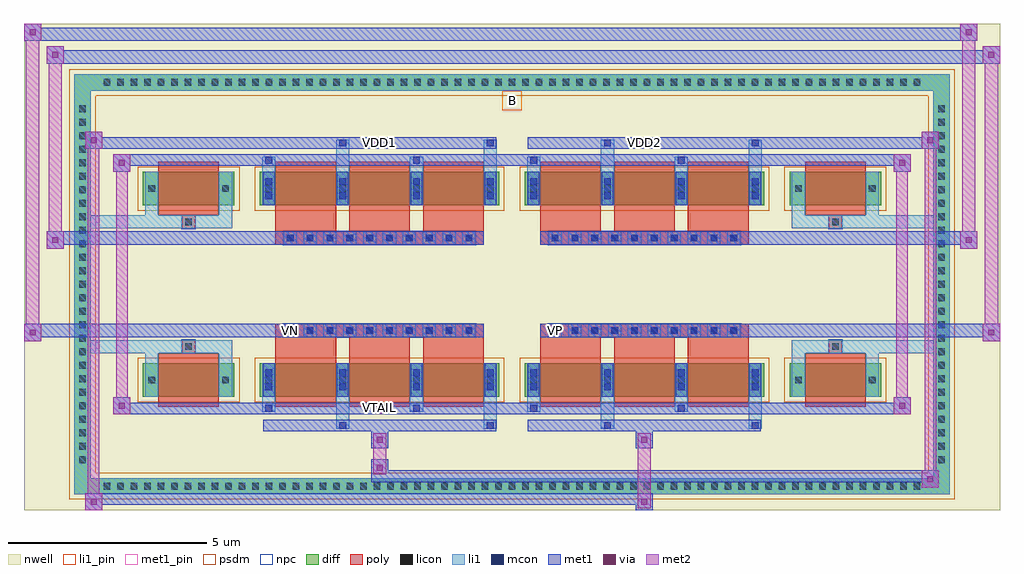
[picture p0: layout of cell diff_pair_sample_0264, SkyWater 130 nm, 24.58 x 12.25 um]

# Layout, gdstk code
import gdstk
lib = gdstk.Library(unit=1e-6, precision=5e-09)
def R(c, l, rs):  # rectangles x0, y0, x1, y1
    for r in rs: c.add(gdstk.rectangle(r[:2], r[2:], *l))
def A(c, l, x, y, w, h, nx, ny, dx, dy):  # array of equal rectangles
    R(c, l, [(x+i*dx, y+j*dy, x+i*dx+w, y+j*dy+h) for i in range(nx) for j in range(ny)])
def P(c, l, *ps):  # polygons
    for p in ps: c.add(gdstk.Polygon(p, *l))
nwell = (64, 20)
diff = (65, 20)
poly = (66, 20)
licon = (66, 44)
li1_pin = (67, 16)
li1 = (67, 20)
mcon = (67, 44)
met1_pin = (68, 16)
met1 = (68, 20)
via = (68, 44)
met2 = (69, 20)
psdm = (94, 20)
npc = (95, 20)

diff_pair_sample_0264 = lib.new_cell('diff_pair_sample_0264')
R(diff_pair_sample_0264, nwell, [(-12.29,-5.69,12.29,6.56), (-9.61,-3.88,-0.01,-0.8), (0.01,-3.88,9.61,-0.8), (-9.61,0.8,-0.01,3.88), (0.01,0.8,9.61,3.88)])
A(diff_pair_sample_0264, diff, -10.405, -5.29, 0.41, 0.41, 61, 2, 0.34, 10.17)
A(diff_pair_sample_0264, diff, -11.02, -4.625, 0.41, 0.41, 1, 27, 0, 0.34)
A(diff_pair_sample_0264, diff, 10.61, -4.625, 0.41, 0.41, 1, 27, 0, 0.34)
R(diff_pair_sample_0264, diff, [(-10.405,-5.29,10.405,-4.88), (-11.02,-4.625,-10.61,4.625), (10.61,-4.625,11.02,4.625), (-9.3,-2.835,-6.99,-1.985), (-6.35,-2.835,-0.32,-1.985), (0.32,-2.835,6.35,-1.985), (6.99,-2.835,9.3,-1.985), (-9.3,1.985,-6.99,2.835), (-6.35,1.985,-0.32,2.835), (0.32,1.985,6.35,2.835), (6.99,1.985,9.3,2.835), (-10.405,4.88,10.405,5.29)])
P(diff_pair_sample_0264, diff, [(11.02,5.29),(-11.02,5.29),(-11.02,-4.88),(-10.61,-4.88),(-10.61,4.88),(10.61,4.88),(10.61,-4.88),(-10.61,-4.88),(-11.02,-4.88),(-11.02,-5.29),(11.02,-5.29)])
A(diff_pair_sample_0264, poly, -5.96, -3.085, 1.53, 1.35, 3, 2, 1.86, 4.82)
A(diff_pair_sample_0264, poly, 0.71, -3.085, 1.53, 1.35, 3, 2, 1.86, 4.82)
A(diff_pair_sample_0264, poly, -5.96, -1.735, 1.53, 0.405, 3, 2, 1.86, 3.065)
A(diff_pair_sample_0264, poly, 0.71, -1.735, 1.53, 0.405, 3, 2, 1.86, 3.065)
A(diff_pair_sample_0264, poly, -5.75, -1.33, 0.33, 0.33, 10, 2, 0.5, 2.33)
A(diff_pair_sample_0264, poly, 0.92, -1.33, 0.33, 0.33, 10, 2, 0.5, 2.33)
R(diff_pair_sample_0264, poly, [(-8.91,-3.085,-7.38,-1.735), (7.38,-3.085,8.91,-1.735), (-8.31,-1.735,-7.98,-1.405), (-8.31,-1.735,-7.98,-1.405), (7.98,-1.735,8.31,-1.405), (7.98,-1.735,8.31,-1.405), (-5.96,-1.33,-0.71,-1), (0.71,-1.33,5.96,-1), (-5.96,1,-0.71,1.33), (0.71,1,5.96,1.33), (-8.31,1.405,-7.98,1.735), (-8.31,1.405,-7.98,1.735), (7.98,1.405,8.31,1.735), (7.98,1.405,8.31,1.735), (-8.91,1.735,-7.38,3.085), (7.38,1.735,8.91,3.085)])
A(diff_pair_sample_0264, licon, -10.285, -5.17, 0.17, 0.17, 61, 2, 0.34, 10.17)
A(diff_pair_sample_0264, licon, -10.9, -4.505, 0.17, 0.17, 1, 27, 0, 0.34)
A(diff_pair_sample_0264, licon, 10.73, -4.505, 0.17, 0.17, 1, 27, 0, 0.34)
A(diff_pair_sample_0264, licon, -6.21, -2.495, 0.17, 0.17, 4, 2, 1.86, 4.82)
A(diff_pair_sample_0264, licon, 0.46, -2.495, 0.17, 0.17, 4, 2, 1.86, 4.82)
A(diff_pair_sample_0264, licon, -5.67, -1.25, 0.17, 0.17, 10, 2, 0.5, 2.33)
A(diff_pair_sample_0264, licon, 1, -1.25, 0.17, 0.17, 10, 2, 0.5, 2.33)
R(diff_pair_sample_0264, licon, [(-9.16,-2.495,-8.99,-2.325), (-7.3,-2.495,-7.13,-2.325), (7.13,-2.495,7.3,-2.325), (8.99,-2.495,9.16,-2.325), (-8.23,-1.655,-8.06,-1.485), (8.06,-1.655,8.23,-1.485), (-8.23,1.485,-8.06,1.655), (8.06,1.485,8.23,1.655), (-9.16,2.325,-8.99,2.495), (-7.3,2.325,-7.13,2.495), (7.13,2.325,7.3,2.495), (8.99,2.325,9.16,2.495)])
R(diff_pair_sample_0264, li1_pin, [(-0.25,4.38,0.25,4.88)])
A(diff_pair_sample_0264, li1, -10.365, -5.25, 0.33, 0.33, 61, 2, 0.34, 10.17)
A(diff_pair_sample_0264, li1, -10.98, -4.585, 0.33, 0.33, 1, 27, 0, 0.34)
A(diff_pair_sample_0264, li1, 10.65, -4.585, 0.33, 0.33, 1, 27, 0, 0.34)
A(diff_pair_sample_0264, li1, -6.29, -2.835, 0.33, 0.85, 4, 2, 1.86, 4.82)
A(diff_pair_sample_0264, li1, 0.38, -2.835, 0.33, 0.85, 4, 2, 1.86, 4.82)
A(diff_pair_sample_0264, li1, -6.21, -2.675, 0.17, 0.17, 4, 2, 1.86, 0.36)
A(diff_pair_sample_0264, li1, -6.21, -2.675, 0.17, 0.53, 4, 2, 1.86, 4.82)
A(diff_pair_sample_0264, li1, 0.46, -2.675, 0.17, 0.17, 4, 2, 1.86, 0.36)
A(diff_pair_sample_0264, li1, 0.46, -2.675, 0.17, 0.53, 4, 2, 1.86, 4.82)
A(diff_pair_sample_0264, li1, -6.29, -2.575, 0.33, 0.33, 4, 2, 1.86, 4.82)
A(diff_pair_sample_0264, li1, 0.38, -2.575, 0.33, 0.33, 4, 2, 1.86, 4.82)
A(diff_pair_sample_0264, li1, -5.75, -1.33, 0.33, 0.33, 10, 2, 0.5, 2.33)
A(diff_pair_sample_0264, li1, 0.92, -1.33, 0.33, 0.33, 10, 2, 0.5, 2.33)
A(diff_pair_sample_0264, li1, -6.21, 2.145, 0.17, 0.17, 4, 2, 1.86, 0.36)
A(diff_pair_sample_0264, li1, 0.46, 2.145, 0.17, 0.17, 4, 2, 1.86, 0.36)
R(diff_pair_sample_0264, li1, [(-11.02,-5.29,-10.61,-4.88), (-11.02,-5.29,-10.61,-4.88), (-10.61,-5.29,10.61,-4.88), (10.61,-5.29,11.02,-4.88), (10.61,-5.29,11.02,-4.88), (-11.02,-4.88,-10.61,4.88), (10.61,-4.88,11.02,4.88), (-4.43,-3.64,-4.1,-2.835), (-4.35,-3.64,-4.18,-3.47), (-0.71,-3.64,-0.38,-2.835), (-0.63,-3.64,-0.46,-3.47), (2.24,-3.64,2.57,-2.835), (2.32,-3.64,2.49,-3.47), (5.96,-3.64,6.29,-2.835), (6.04,-3.64,6.21,-3.47), (-6.29,-3.21,-5.96,-2.835), (-6.21,-3.21,-6.04,-3.04), (-2.57,-3.21,-2.24,-2.835), (-2.49,-3.21,-2.32,-3.04), (0.38,-3.21,0.71,-2.835), (0.46,-3.21,0.63,-3.04), (4.1,-3.21,4.43,-2.835), (4.18,-3.21,4.35,-3.04), (-9.24,-2.835,-8.91,-1.985), (-7.38,-2.835,-7.05,-1.985), (7.05,-2.835,7.38,-1.985), (8.91,-2.835,9.24,-1.985), (-9.24,-2.575,-8.91,-2.245), (-7.38,-2.575,-7.05,-2.245), (7.05,-2.575,7.38,-2.245), (8.91,-2.575,9.24,-2.245), (-9.24,-1.985,-8.91,-1.405), (-7.38,-1.985,-7.05,-1.405), (7.05,-1.985,7.38,-1.405), (8.91,-1.985,9.24,-1.405), (-11.02,-1.735,-8.31,-1.405), (-9.24,-1.735,-8.31,-1.405), (-8.31,-1.735,-7.98,-1.405), (-7.98,-1.735,-7.05,-1.405), (7.05,-1.735,7.98,-1.405), (7.98,-1.735,8.31,-1.405), (7.98,-1.735,11.02,-1.405), (8.31,-1.735,9.24,-1.405), (-11.02,1.405,-8.31,1.735), (-9.24,1.405,-8.31,1.735), (-9.24,1.405,-8.91,1.985), (-8.31,1.405,-7.98,1.735), (-7.98,1.405,-7.05,1.735), (-7.38,1.405,-7.05,1.985), (7.05,1.405,7.98,1.735), (7.05,1.405,7.38,1.985), (7.98,1.405,8.31,1.735), (7.98,1.405,11.02,1.735), (8.31,1.405,9.24,1.735), (8.91,1.405,9.24,1.985), (-9.24,1.985,-8.91,2.835), (-7.38,1.985,-7.05,2.835), (7.05,1.985,7.38,2.835), (8.91,1.985,9.24,2.835), (-9.24,2.245,-8.91,2.575), (-7.38,2.245,-7.05,2.575), (7.05,2.245,7.38,2.575), (8.91,2.245,9.24,2.575), (-6.29,2.835,-5.96,3.21), (-4.43,2.835,-4.1,3.64), (-2.57,2.835,-2.24,3.21), (-0.71,2.835,-0.38,3.64), (0.38,2.835,0.71,3.21), (2.24,2.835,2.57,3.64), (4.1,2.835,4.43,3.21), (5.96,2.835,6.29,3.64), (-6.21,3.04,-6.04,3.21), (-2.49,3.04,-2.32,3.21), (0.46,3.04,0.63,3.21), (4.18,3.04,4.35,3.21), (-4.35,3.47,-4.18,3.64), (-0.63,3.47,-0.46,3.64), (2.32,3.47,2.49,3.64), (6.04,3.47,6.21,3.64), (-11.02,4.88,-10.61,5.29), (-11.02,4.88,-10.61,5.29), (-10.61,4.88,10.61,5.29), (10.61,4.88,11.02,5.29), (10.61,4.88,11.02,5.29)])
A(diff_pair_sample_0264, mcon, -6.21, -2.675, 0.17, 0.17, 4, 2, 1.86, 0.36)
A(diff_pair_sample_0264, mcon, 0.46, -2.675, 0.17, 0.17, 4, 2, 1.86, 0.36)
A(diff_pair_sample_0264, mcon, -5.67, -1.25, 0.17, 0.17, 10, 2, 0.5, 2.33)
A(diff_pair_sample_0264, mcon, 1, -1.25, 0.17, 0.17, 10, 2, 0.5, 2.33)
A(diff_pair_sample_0264, mcon, -6.21, 2.145, 0.17, 0.17, 4, 2, 1.86, 0.36)
A(diff_pair_sample_0264, mcon, 0.46, 2.145, 0.17, 0.17, 4, 2, 1.86, 0.36)
R(diff_pair_sample_0264, mcon, [(-4.35,-3.64,-4.18,-3.47), (-0.63,-3.64,-0.46,-3.47), (2.32,-3.64,2.49,-3.47), (6.04,-3.64,6.21,-3.47), (-6.21,-3.21,-6.04,-3.04), (-2.49,-3.21,-2.32,-3.04), (0.46,-3.21,0.63,-3.04), (4.18,-3.21,4.35,-3.04), (-6.21,3.04,-6.04,3.21), (-2.49,3.04,-2.32,3.21), (0.46,3.04,0.63,3.21), (4.18,3.04,4.35,3.21), (-4.35,3.47,-4.18,3.64), (-0.63,3.47,-0.46,3.64), (2.32,3.47,2.49,3.64), (6.04,3.47,6.21,3.64)])
R(diff_pair_sample_0264, met1_pin, [(-3.47,-3.25,-3.2,-2.98), (-5.72,-1.29,-5.45,-1.02), (0.95,-1.29,1.22,-1.02), (-3.47,3.43,-3.2,3.7), (3.2,3.43,3.47,3.7)])
A(diff_pair_sample_0264, met1, -6.27, -2.835, 0.29, 0.85, 4, 2, 1.86, 4.82)
A(diff_pair_sample_0264, met1, 0.4, -2.835, 0.29, 0.85, 4, 2, 1.86, 4.82)
A(diff_pair_sample_0264, met1, -6.27, -2.735, 0.29, 0.29, 4, 2, 1.86, 0.36)
A(diff_pair_sample_0264, met1, 0.4, -2.735, 0.29, 0.29, 4, 2, 1.86, 0.36)
A(diff_pair_sample_0264, met1, -5.73, -1.31, 0.29, 0.29, 10, 2, 0.5, 2.33)
A(diff_pair_sample_0264, met1, 0.94, -1.31, 0.29, 0.29, 10, 2, 0.5, 2.33)
A(diff_pair_sample_0264, met1, -6.27, 2.085, 0.29, 0.29, 4, 2, 1.86, 0.36)
A(diff_pair_sample_0264, met1, 0.4, 2.085, 0.29, 0.29, 4, 2, 1.86, 0.36)
R(diff_pair_sample_0264, met1, [(-10.75,-5.69,-10.32,-5.26), (3.12,-5.69,3.55,-5.26), (-10.75,-5.55,3.55,-5.26), (10.32,-5.12,10.75,-4.69), (-3.55,-4.98,10.75,-4.69), (-3.55,-4.84,-3.12,-4.41), (-3.55,-4.13,-3.12,-3.7), (3.12,-4.13,3.55,-3.7), (-6.27,-3.7,-0.4,-3.41), (-4.41,-3.7,-4.12,-3.41), (-0.69,-3.7,-0.4,-3.41), (0.4,-3.7,6.27,-3.41), (2.26,-3.7,2.55,-3.41), (5.98,-3.7,6.27,-3.41), (-10.04,-3.27,-9.61,-2.84), (-10.04,-3.27,-6.27,-2.98), (-6.27,-3.27,-5.98,-2.98), (-6.27,-3.27,-0.4,-2.98), (-2.55,-3.27,-2.26,-2.98), (-0.4,-3.27,0.4,-2.98), (0.4,-3.27,0.69,-2.98), (0.4,-3.27,6.27,-2.98), (4.12,-3.27,4.41,-2.98), (6.27,-3.27,10.04,-2.98), (9.61,-3.27,10.04,-2.84), (-12.29,-1.43,-11.86,-1), (11.86,-1.43,12.29,-1), (-12.29,-1.33,-0.71,-1), (-5.96,-1.33,-0.71,-1), (0.71,-1.33,5.96,-1), (0.71,-1.33,12.29,-1), (-11.72,0.9,-11.29,1.33), (11.29,0.9,11.72,1.33), (-11.72,1,-5.96,1.33), (-5.96,1,-0.71,1.33), (0.71,1,5.96,1.33), (5.96,1,11.72,1.33), (-10.04,2.84,-9.61,3.27), (9.61,2.84,10.04,3.27), (-10.04,2.98,-6.27,3.27), (-6.27,2.98,-5.98,3.27), (-6.27,2.98,-0.4,3.27), (-2.55,2.98,-2.26,3.27), (-0.4,2.98,0.4,3.27), (0.4,2.98,0.69,3.27), (0.4,2.98,6.27,3.27), (4.12,2.98,4.41,3.27), (6.27,2.98,10.04,3.27), (-10.75,3.41,-10.32,3.84), (-10.75,3.41,-6.27,3.7), (-6.27,3.41,-0.4,3.7), (-4.41,3.41,-4.12,3.7), (-0.69,3.41,-0.4,3.7), (0.4,3.41,6.27,3.7), (2.26,3.41,2.55,3.7), (5.98,3.41,6.27,3.7), (6.27,3.41,10.75,3.7), (10.32,3.41,10.75,3.84), (-11.72,5.56,-11.29,5.99), (-11.72,5.56,-9.61,5.89), (-9.61,5.56,9.61,5.89), (9.61,5.56,12.29,5.89), (11.86,5.56,12.29,5.99), (-12.29,6.13,-11.86,6.56), (-12.29,6.13,-9.61,6.46), (-9.61,6.13,9.61,6.46), (9.61,6.13,11.72,6.46), (11.29,6.13,11.72,6.56)])
R(diff_pair_sample_0264, via, [(-10.61,-5.55,-10.46,-5.4), (3.26,-5.55,3.41,-5.4), (10.46,-4.98,10.61,-4.83), (-3.41,-4.7,-3.26,-4.55), (-3.41,-3.99,-3.26,-3.84), (3.26,-3.99,3.41,-3.84), (-9.9,-3.13,-9.75,-2.98), (9.75,-3.13,9.9,-2.98), (-12.15,-1.29,-12,-1.14), (12,-1.29,12.15,-1.14), (-11.58,1.04,-11.43,1.19), (11.43,1.04,11.58,1.19), (-9.9,2.98,-9.75,3.13), (9.75,2.98,9.9,3.13), (-10.61,3.55,-10.46,3.7), (10.46,3.55,10.61,3.7), (-11.58,5.7,-11.43,5.85), (12,5.7,12.15,5.85), (-12.15,6.27,-12,6.42), (11.43,6.27,11.58,6.42)])
R(diff_pair_sample_0264, met2, [(-10.75,-5.69,-10.32,-5.26), (-10.68,-5.69,-10.39,3.84), (-10.39,-5.69,-10.32,-5.26), (-10.7,-5.64,-10.37,-5.31), (3.17,-5.64,3.5,-5.31), (3.17,-5.31,3.5,-4.08), (10.32,-5.12,10.75,-4.69), (10.39,-5.12,10.68,3.84), (10.68,-5.12,10.75,-4.69), (10.37,-5.07,10.7,-4.74), (-3.5,-4.79,-3.17,-4.46), (-3.5,-4.46,-3.17,-4.08), (-3.5,-4.08,-3.17,-3.75), (3.17,-4.08,3.5,-3.75), (-10.04,-3.27,-9.61,-2.84), (-9.97,-3.27,-9.68,3.27), (-9.68,-3.27,-9.61,-2.84), (9.61,-3.27,10.04,-2.84), (9.68,-3.27,9.97,3.27), (9.97,-3.27,10.04,-2.84), (-9.99,-3.22,-9.66,-2.89), (9.66,-3.22,9.99,-2.89), (-12.29,-1.43,-11.86,-1), (-12.24,-1.43,-11.91,6.56), (-11.91,-1.43,-11.86,-1), (11.86,-1.43,12.29,-1), (11.91,-1.43,12.24,5.99), (12.24,-1.43,12.29,-1), (-12.24,-1.38,-11.91,-1.05), (11.91,-1.38,12.24,-1.05), (-11.72,0.9,-11.29,1.33), (-11.67,0.9,-11.34,5.99), (-11.34,0.9,-11.29,1.33), (11.29,0.9,11.72,1.33), (11.34,0.9,11.67,6.56), (11.67,0.9,11.72,1.33), (-11.67,0.95,-11.34,1.28), (11.34,0.95,11.67,1.28), (-10.04,2.84,-9.61,3.27), (-9.68,2.84,-9.61,3.27), (9.61,2.84,10.04,3.27), (9.97,2.84,10.04,3.27), (-9.99,2.89,-9.66,3.22), (9.66,2.89,9.99,3.22), (-10.75,3.41,-10.32,3.84), (-10.39,3.41,-10.32,3.84), (10.32,3.41,10.75,3.84), (10.68,3.41,10.75,3.84), (-10.7,3.46,-10.37,3.79), (10.37,3.46,10.7,3.79), (-11.72,5.56,-11.29,5.99), (-11.34,5.56,-11.29,5.99), (11.86,5.56,12.29,5.99), (12.24,5.56,12.29,5.99), (-11.67,5.61,-11.34,5.94), (11.91,5.61,12.24,5.94), (-12.29,6.13,-11.86,6.56), (-11.91,6.13,-11.86,6.56), (11.29,6.13,11.72,6.56), (11.67,6.13,11.72,6.56), (-12.24,6.18,-11.91,6.51), (11.34,6.18,11.67,6.51)])
R(diff_pair_sample_0264, psdm, [(-9.43,-2.965,-6.86,-1.855), (-6.48,-2.965,-0.19,-1.855), (0.19,-2.965,6.48,-1.855), (6.86,-2.965,9.43,-1.855), (-9.43,1.855,-6.86,2.965), (-6.48,1.855,-0.19,2.965), (0.19,1.855,6.48,2.965), (6.86,1.855,9.43,2.965)])
P(diff_pair_sample_0264, psdm, [(11.15,5.42),(-11.15,5.42),(-11.15,-4.75),(-10.48,-4.75),(-10.48,4.75),(10.48,4.75),(10.48,-4.75),(-10.48,-4.75),(-11.15,-4.75),(-11.15,-5.42),(11.15,-5.42)])
A(diff_pair_sample_0264, npc, -5.77, -1.35, 0.37, 0.37, 10, 2, 0.5, 2.33)
A(diff_pair_sample_0264, npc, 0.9, -1.35, 0.37, 0.37, 10, 2, 0.5, 2.33)
R(diff_pair_sample_0264, npc, [(-8.33,-1.755,-7.96,-1.385), (7.96,-1.755,8.33,-1.385), (-5.77,-1.35,-4.9,-0.98), (-5.77,-1.35,-4.9,-0.98), (-5.27,-1.35,-4.4,-0.98), (-5.27,-1.35,-4.4,-0.98), (-4.77,-1.35,-3.9,-0.98), (-4.77,-1.35,-3.9,-0.98), (-4.27,-1.35,-3.4,-0.98), (-4.27,-1.35,-3.4,-0.98), (-3.77,-1.35,-2.9,-0.98), (-3.77,-1.35,-2.9,-0.98), (-3.27,-1.35,-2.4,-0.98), (-3.27,-1.35,-2.4,-0.98), (-2.77,-1.35,-1.9,-0.98), (-2.77,-1.35,-1.9,-0.98), (-2.27,-1.35,-1.4,-0.98), (-2.27,-1.35,-1.4,-0.98), (-1.77,-1.35,-0.9,-0.98), (-1.77,-1.35,-0.9,-0.98), (0.9,-1.35,1.77,-0.98), (0.9,-1.35,1.77,-0.98), (1.4,-1.35,2.27,-0.98), (1.4,-1.35,2.27,-0.98), (1.9,-1.35,2.77,-0.98), (1.9,-1.35,2.77,-0.98), (2.4,-1.35,3.27,-0.98), (2.4,-1.35,3.27,-0.98), (2.9,-1.35,3.77,-0.98), (2.9,-1.35,3.77,-0.98), (3.4,-1.35,4.27,-0.98), (3.4,-1.35,4.27,-0.98), (3.9,-1.35,4.77,-0.98), (3.9,-1.35,4.77,-0.98), (4.4,-1.35,5.27,-0.98), (4.4,-1.35,5.27,-0.98), (4.9,-1.35,5.77,-0.98), (4.9,-1.35,5.77,-0.98), (-5.77,0.98,-4.9,1.35), (-5.77,0.98,-4.9,1.35), (-5.27,0.98,-4.4,1.35), (-5.27,0.98,-4.4,1.35), (-4.77,0.98,-3.9,1.35), (-4.77,0.98,-3.9,1.35), (-4.27,0.98,-3.4,1.35), (-4.27,0.98,-3.4,1.35), (-3.77,0.98,-2.9,1.35), (-3.77,0.98,-2.9,1.35), (-3.27,0.98,-2.4,1.35), (-3.27,0.98,-2.4,1.35), (-2.77,0.98,-1.9,1.35), (-2.77,0.98,-1.9,1.35), (-2.27,0.98,-1.4,1.35), (-2.27,0.98,-1.4,1.35), (-1.77,0.98,-0.9,1.35), (-1.77,0.98,-0.9,1.35), (0.9,0.98,1.77,1.35), (0.9,0.98,1.77,1.35), (1.4,0.98,2.27,1.35), (1.4,0.98,2.27,1.35), (1.9,0.98,2.77,1.35), (1.9,0.98,2.77,1.35), (2.4,0.98,3.27,1.35), (2.4,0.98,3.27,1.35), (2.9,0.98,3.77,1.35), (2.9,0.98,3.77,1.35), (3.4,0.98,4.27,1.35), (3.4,0.98,4.27,1.35), (3.9,0.98,4.77,1.35), (3.9,0.98,4.77,1.35), (4.4,0.98,5.27,1.35), (4.4,0.98,5.27,1.35), (4.9,0.98,5.77,1.35), (4.9,0.98,5.77,1.35), (-8.33,1.385,-7.96,1.755), (7.96,1.385,8.33,1.755)])
diff_pair_sample_0264.add(gdstk.Label('VTAIL', (-3.335,-3.115), layer=68, texttype=5))
diff_pair_sample_0264.add(gdstk.Label('VN', (-5.585,-1.155), layer=68, texttype=5))
diff_pair_sample_0264.add(gdstk.Label('VP', (1.085,-1.155), layer=68, texttype=5))
diff_pair_sample_0264.add(gdstk.Label('B', (0,4.63), layer=67, texttype=5))
diff_pair_sample_0264.add(gdstk.Label('VDD2', (3.335,3.565), layer=68, texttype=5))
diff_pair_sample_0264.add(gdstk.Label('VDD1', (-3.335,3.565), layer=68, texttype=5))

lib.write_gds('diff_pair_sample_0264.gds')
